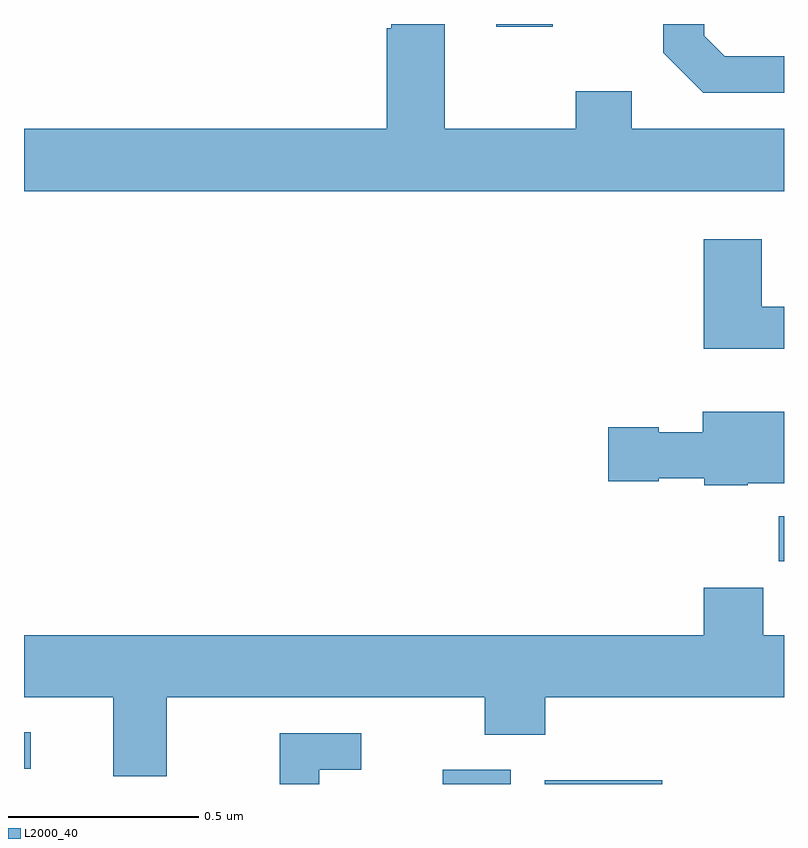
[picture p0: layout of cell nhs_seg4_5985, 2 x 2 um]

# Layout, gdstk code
import gdstk
lib = gdstk.Library(unit=1e-6, precision=1e-09)
def R(c, l, rs):  # rectangles x0, y0, x1, y1
    for r in rs: c.add(gdstk.rectangle(r[:2], r[2:], *l))
def P(c, l, *ps):  # polygons
    for p in ps: c.add(gdstk.Polygon(p, *l))
L2000_40 = (2000, 40)

nhs_seg4_5985 = lib.new_cell('nhs_seg4_5985')
R(nhs_seg4_5985, L2000_40, [(185.102,821.9,185.281,821.938), (185.37,821.9,185.68,821.91), (184,821.94,184.018,822.036), (185.986,822.486,186,822.604), (185.243,823.893,185.392,823.9)])
P(nhs_seg4_5985, L2000_40, [(186,823.624),(185.599,823.624),(185.599,823.723),(185.452,823.723),(185.452,823.624),(185.107,823.624),(185.107,823.9),(184.967,823.9),(184.967,823.889),(184.955,823.889),(184.955,823.624),(184,823.624),(184,823.46),(186,823.46)],
  [(186,823.815),(185.844,823.815),(185.79,823.869),(185.79,823.9),(185.682,823.9),(185.682,823.825),(185.787,823.719),(186,823.719)],
  [(186,823.156),(185.941,823.156),(185.941,823.333),(185.789,823.333),(185.789,823.046),(186,823.046)],
  [(185.904,822.692),(186,822.692),(186,822.88),(185.786,822.88),(185.786,822.826),(185.67,822.826),(185.67,822.839),(185.538,822.839),(185.538,822.697),(185.67,822.697),(185.67,822.704),(185.79,822.704),(185.79,822.686),(185.904,822.686)],
  [(184.375,822.128),(185.212,822.128),(185.212,822.029),(185.372,822.029),(185.372,822.128),(186,822.128),(186,822.292),(185.945,822.292),(185.945,822.416),(185.789,822.416),(185.789,822.292),(184,822.292),(184,822.128),(184.235,822.128),(184.235,821.92),(184.375,821.92)],
  [(184.777,821.937),(184.888,821.937),(184.888,822.033),(184.673,822.033),(184.673,821.9),(184.777,821.9)])

lib.write_gds('nhs_seg4_5985.gds')
